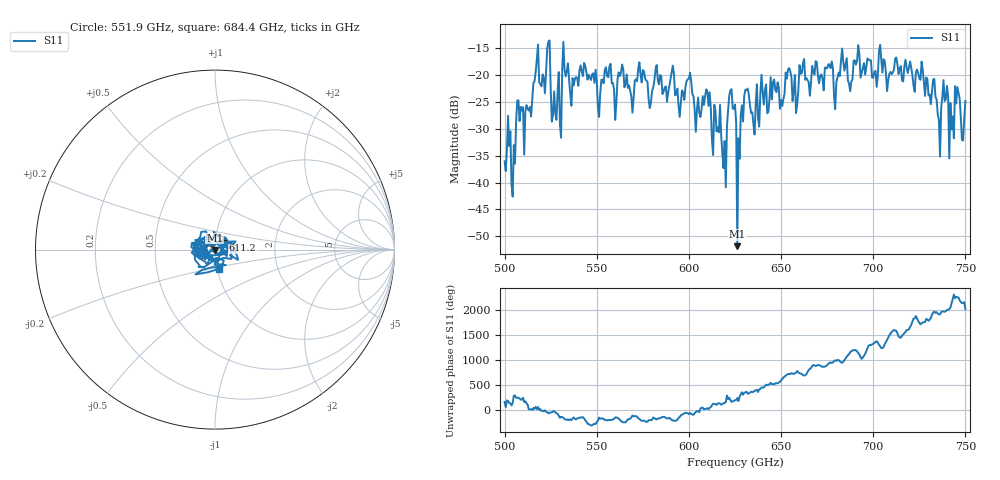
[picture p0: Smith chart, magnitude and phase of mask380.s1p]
!Created with skrf (http://scikit-rf.org).
# GHz S MA R 50.0
!freq magS11 angS11
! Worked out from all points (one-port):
!   401 points, 500 GHz to 750 GHz, reference 50 ohm
!   lowest |S11| = -51.8 dB at 626.2 GHz (marker M1), VSWR 1.01, Z = 49.9 - j0.229 ohm
!   |S11| at or under -10 dB: start of sweep to end of sweep
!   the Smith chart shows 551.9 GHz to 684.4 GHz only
!   S11 on the Smith chart (normalised r, x): 551.9 GHz: 0.88, -0.02; 611.2 GHz: 1.09, +0.11; 684.4 GHz: 1.02, -0.22
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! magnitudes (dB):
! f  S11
! 500 GHz  -36.1
! 505 GHz  -33.1
! 507.5 GHz  -24.7
! 511.9 GHz  -25.6
! 516.9 GHz  -19.4
! 523.8 GHz  -13.8
! 526.9 GHz  -23.1
! 531.2 GHz  -19.0
! 533.1 GHz  -20.3
! 551.9 GHz  -23.5
! 562.5 GHz  -20.2
! 593.8 GHz  -22.5
! 611.2 GHz  -23.3
! 618.8 GHz  -37.3
! 623.1 GHz  -22.7
! 625 GHz  -25.5
! 626.2 GHz  -51.8
! 631.2 GHz  -22.9
! 634.4 GHz  -27.0
! 656.2 GHz  -24.9
! 684.4 GHz  -19.2
! 687.5 GHz  -23.0
! 718.8 GHz  -19.7
! 735.6 GHz  -28.4
! 738.8 GHz  -24.9
! 742.5 GHz  -30.1
! 745.6 GHz  -22.2
! 750 GHz  -24.8
